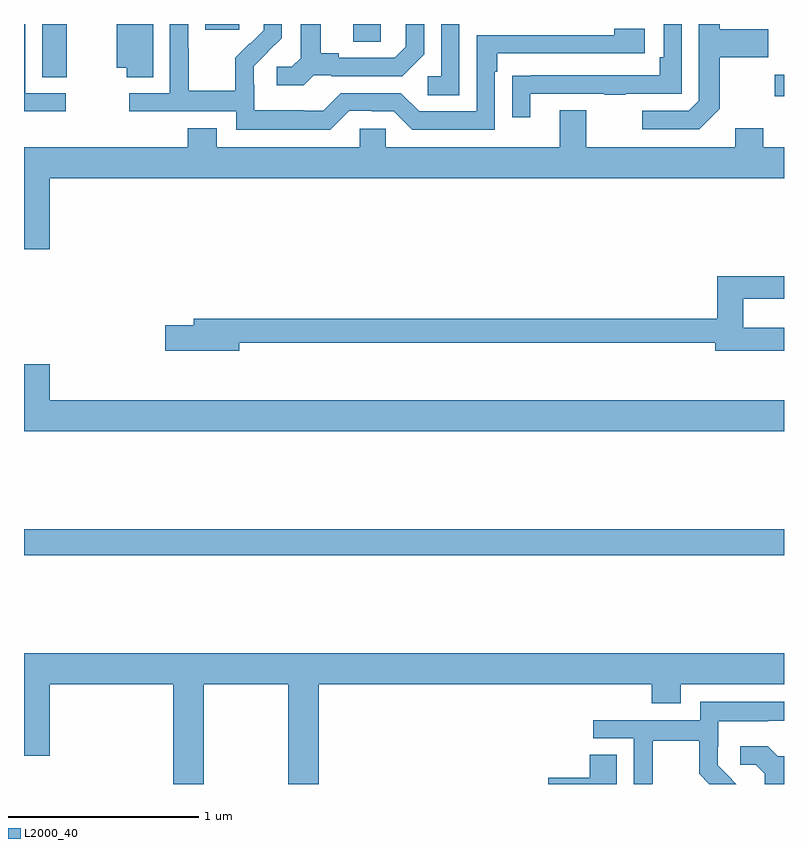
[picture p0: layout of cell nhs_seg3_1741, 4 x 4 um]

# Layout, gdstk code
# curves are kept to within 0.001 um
import gdstk
lib = gdstk.Library(unit=1e-6, precision=1e-09)
def R(c, l, rs):  # rectangles x0, y0, x1, y1
    for r in rs: c.add(gdstk.rectangle(r[:2], r[2:], *l))
def P(c, l, *ps):  # polygons
    for p in ps: c.add(gdstk.Polygon(p, *l))
L2000_40 = (2000, 40)

nhs_seg3_1741 = lib.new_cell('nhs_seg3_1741')
R(nhs_seg3_1741, L2000_40, [(201,693.604,205,693.74), (204.951,696.021,205,696.134), (201.095,696.121,201.226,696.4), (202.733,696.307,202.878,696.4), (201.953,696.369,202.132,696.4)])
P(nhs_seg3_1741, L2000_40, [(203.292,696.4),(203.196,696.4),(203.196,696.126),(203.124,696.126),(203.124,696.025),(203.292,696.025)],
  [(202.524,696.129),(202.618,696.129),(202.618,696.126),(202.99,696.126),(203.106,696.242),(203.106,696.4),(203.009,696.4),(203.009,696.279),(202.952,696.222),(202.657,696.222),(202.657,696.245),(202.561,696.245),(202.561,696.4),(202.457,696.4),(202.457,696.221),(202.41,696.174),(202.329,696.174),(202.329,696.077),(202.472,696.077)],
  [(204.661,695.953),(204.661,696.226),(204.917,696.226),(204.917,696.373),(204.661,696.373),(204.661,696.4),(204.552,696.4),(204.552,695.997),(204.498,695.943),(204.255,695.943),(204.255,695.847),(204.555,695.847)],
  [(201.679,696.4),(201.488,696.4),(201.488,696.17),(201.541,696.17),(201.541,696.121),(201.679,696.121)],
  [(203.665,696.033),(204.055,696.033),(204.055,696.028),(204.167,696.028),(204.167,696.033),(204.462,696.033),(204.462,696.4),(204.366,696.4),(204.366,696.226),(204.346,696.226),(204.346,696.129),(203.671,696.129),(203.671,696.128),(203.569,696.128),(203.569,695.91),(203.665,695.91)],
  [(201.22,696.036),(201.006,696.036),(201.006,696.4),(201,696.4),(201,695.94),(201.22,695.94)],
  [(202.713,695.943),(202.829,695.943),(202.829,695.94),(202.947,695.94),(203.043,695.844),(203.478,695.844),(203.478,696.149),(203.491,696.149),(203.491,696.246),(204.268,696.246),(204.268,696.376),(204.107,696.376),(204.107,696.342),(203.382,696.342),(203.382,695.94),(203.079,695.94),(202.983,696.036),(202.668,696.036),(202.575,695.943),(202.475,695.943),(202.475,695.947),(202.212,695.947),(202.212,696.081),(202.21,696.081),(202.21,696.178),(202.356,696.326),(202.356,696.4),(202.262,696.4),(202.262,696.368),(202.191,696.297),(202.188,696.3),(202.111,696.223),(202.111,696.049),(201.867,696.049),(201.867,696.272),(201.864,696.272),(201.864,696.4),(201.768,696.4),(201.768,696.036),(201.555,696.036),(201.555,695.94),(202.116,695.94),(202.116,695.843),(202.613,695.843)],
  [(201.136,695.588),(205,695.588),(205,695.752),(204.891,695.752),(204.891,695.851),(204.743,695.851),(204.743,695.752),(203.959,695.752),(203.959,695.947),(203.819,695.947),(203.819,695.752),(202.905,695.752),(202.905,695.85),(202.767,695.85),(202.767,695.752),(202.015,695.752),(202.015,695.851),(201.863,695.851),(201.863,695.752),(201,695.752),(201,695.214),(201.136,695.214)],
  [(202.132,694.722),(204.638,694.722),(204.638,694.679),(205,694.679),(205,694.801),(204.785,694.801),(204.785,694.955),(205,694.955),(205,695.072),(204.649,695.072),(204.649,694.85),(201.893,694.85),(201.893,694.814),(201.744,694.814),(201.744,694.679),(202.132,694.679)],
  [(205,694.42),(201.136,694.42),(201.136,694.609),(201,694.609),(201,694.256),(205,694.256)],
  [(201.945,692.924),(202.39,692.924),(202.39,692.4),(202.55,692.4),(202.55,692.924),(204.305,692.924),(204.305,692.825),(204.457,692.825),(204.457,692.924),(205,692.924),(205,693.088),(201,693.088),(201,692.55),(201.136,692.55),(201.136,692.924),(201.785,692.924),(201.785,692.4),(201.945,692.4)],
  [(204.306,692.404),(204.309,692.404),(204.309,692.628),(204.553,692.628),(204.553,692.453),(204.606,692.4),(204.748,692.4),(204.725,692.423),(204.726,692.424),(204.652,692.498),(204.652,692.595),(204.654,692.595),(204.654,692.729),(204.917,692.729),(204.917,692.733),(205,692.733),(205,692.833),(204.558,692.833),(204.558,692.736),(203.997,692.736),(203.997,692.64),(204.21,692.64),(204.21,692.4),(204.306,692.4)],
  [(205,692.547),(204.966,692.547),(204.914,692.599),(204.771,692.599),(204.771,692.502),(204.852,692.502),(204.899,692.455),(204.899,692.4),(205,692.4)],
  [(204.121,692.555),(203.978,692.555),(203.978,692.432),(203.76,692.432),(203.76,692.4),(204.121,692.4)])

lib.write_gds('nhs_seg3_1741.gds')
